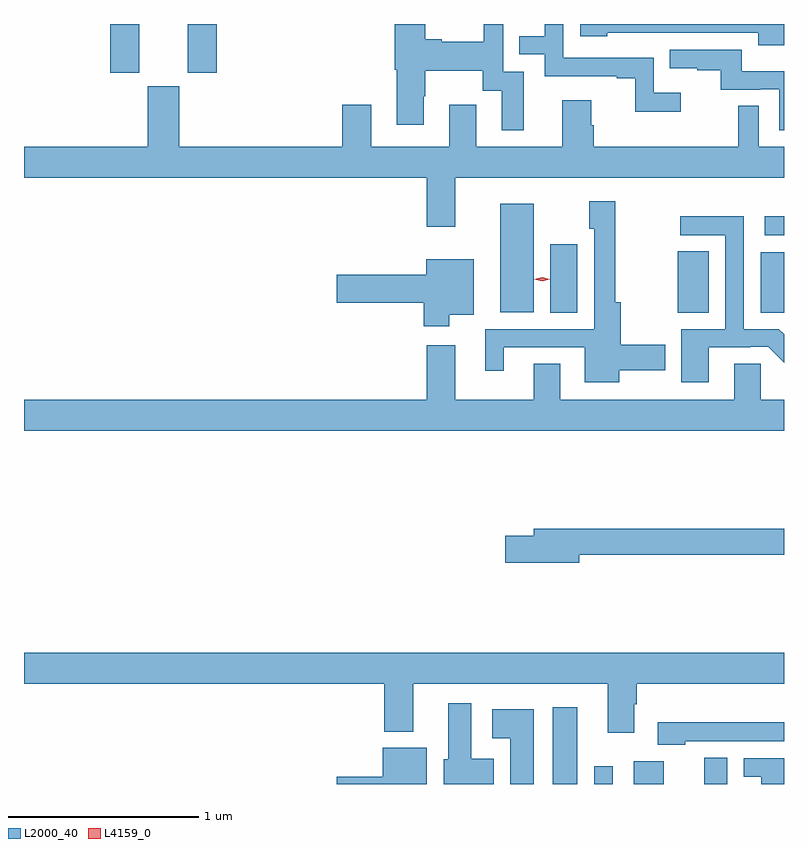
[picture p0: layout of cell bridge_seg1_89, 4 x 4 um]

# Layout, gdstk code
import gdstk
lib = gdstk.Library(unit=1e-6, precision=1e-09)
def R(c, l, rs):  # rectangles x0, y0, x1, y1
    for r in rs: c.add(gdstk.rectangle(r[:2], r[2:], *l))
def P(c, l, *ps):  # polygons
    for p in ps: c.add(gdstk.Polygon(p, *l))
L2000_40 = (2000, 40)
L4159_0 = (4159, 0)

bridge_seg1_89 = lib.new_cell('bridge_seg1_89')
R(bridge_seg1_89, L2000_40, [(186.008,507.249,186.139,507.652), (186.228,507.249,186.324,507.343), (186.434,507.249,186.592,507.37), (186.806,507.249,186.928,507.388), (185.996,509.728,186.139,510.091), (186.668,509.728,186.829,510.053), (187.103,509.728,187.226,510.048), (185.732,509.732,185.908,510.304), (187.125,510.137,187.226,510.238), (183.68,510.993,183.832,511.249), (184.088,510.993,184.241,511.249)])
P(bridge_seg1_89, L2000_40, [(185.857,510.999),(185.748,510.999),(185.748,511.249),(185.645,511.249),(185.645,511.156),(185.425,511.156),(185.425,511.169),(185.337,511.169),(185.337,511.249),(185.177,511.249),(185.177,511.008),(185.189,511.008),(185.189,510.72),(185.329,510.72),(185.329,510.87),(185.337,510.87),(185.337,511.004),(185.64,511.004),(185.64,510.898),(185.741,510.898),(185.741,510.69),(185.857,510.69)],
  [(187.226,511.249),(186.153,511.249),(186.153,511.184),(186.297,511.184),(186.297,511.202),(186.533,511.202),(186.533,511.203),(187.091,511.203),(187.091,511.136),(187.226,511.136)],
  [(186.682,510.886),(186.54,510.886),(186.54,511.071),(186.063,511.071),(186.063,511.249),(185.967,511.249),(185.967,511.185),(185.833,511.185),(185.833,511.089),(185.967,511.089),(185.967,510.975),(186.347,510.975),(186.347,510.963),(186.442,510.963),(186.442,510.788),(186.682,510.788)],
  [(187.226,511.001),(187.003,511.001),(187.003,511.113),(186.625,511.113),(186.625,511.016),(186.769,511.016),(186.769,511.005),(186.893,511.005),(186.893,510.903),(187.1,510.903),(187.1,510.906),(187.2,510.906),(187.2,510.689),(187.226,510.689)],
  [(186.059,510.847),(186.059,510.604),(185.605,510.604),(185.605,510.823),(185.465,510.823),(185.465,510.604),(185.053,510.604),(185.053,510.823),(184.901,510.823),(184.901,510.604),(184.042,510.604),(184.042,510.921),(183.878,510.921),(183.878,510.604),(183.226,510.604),(183.226,510.44),(185.345,510.44),(185.345,510.183),(185.497,510.183),(185.497,510.44),(187.226,510.44),(187.226,510.604),(187.092,510.604),(187.092,510.818),(186.984,510.818),(186.984,510.604),(186.224,510.604),(186.224,510.717),(186.211,510.717),(186.211,510.847)],
  [(186.358,509.426),(186.601,509.426),(186.601,509.561),(186.366,509.561),(186.366,509.785),(186.337,509.785),(186.337,510.316),(186.202,510.316),(186.202,510.171),(186.228,510.171),(186.228,509.643),(185.654,509.643),(185.654,509.424),(185.752,509.424),(185.752,509.547),(186.176,509.547),(186.176,509.363),(186.358,509.363)],
  [(186.829,509.547),(187.049,509.547),(187.049,509.55),(187.143,509.55),(187.226,509.467),(187.226,509.615),(187.198,509.643),(187.014,509.643),(187.014,510.236),(186.681,510.236),(186.681,510.138),(186.918,510.138),(186.918,509.643),(186.686,509.643),(186.686,509.364),(186.829,509.364)],
  [(185.464,509.72),(185.593,509.72),(185.593,510.01),(185.342,510.01),(185.342,509.93),(184.872,509.93),(184.872,509.783),(185.33,509.783),(185.33,509.658),(185.464,509.658)],
  [(187.226,509.272),(187.104,509.272),(187.104,509.462),(186.965,509.462),(186.965,509.272),(186.049,509.272),(186.049,509.462),(185.909,509.462),(185.909,509.272),(185.497,509.272),(185.497,509.557),(185.345,509.557),(185.345,509.272),(183.226,509.272),(183.226,509.108),(187.226,509.108)],
  [(186.148,508.456),(187.226,508.456),(187.226,508.592),(185.909,508.592),(185.909,508.556),(185.76,508.556),(185.76,508.414),(186.148,508.414)],
  [(186.439,507.67),(186.452,507.67),(186.452,507.776),(187.226,507.776),(187.226,507.94),(183.226,507.94),(183.226,507.776),(185.123,507.776),(185.123,507.524),(185.275,507.524),(185.275,507.776),(186.299,507.776),(186.299,507.519),(186.439,507.519)],
  [(185.698,507.382),(185.581,507.382),(185.581,507.673),(185.459,507.673),(185.459,507.378),(185.435,507.378),(185.435,507.249),(185.698,507.249)],
  [(185.908,507.643),(185.691,507.643),(185.691,507.491),(185.786,507.491),(185.786,507.249),(185.908,507.249)],
  [(186.705,507.473),(187.226,507.473),(187.226,507.574),(186.561,507.574),(186.561,507.455),(186.705,507.455)],
  [(185.347,507.439),(185.114,507.439),(185.114,507.287),(184.872,507.287),(184.872,507.249),(185.347,507.249)],
  [(187.226,507.384),(187.013,507.384),(187.013,507.288),(187.106,507.288),(187.106,507.249),(187.226,507.249)])
P(bridge_seg1_89, L4159_0, [(185.953,509.896),(185.912,509.906),(185.912,509.906),(185.912,509.906),(185.953,509.916),(185.993,509.906),(185.993,509.906),(185.993,509.906)])

lib.write_gds('bridge_seg1_89.gds')
